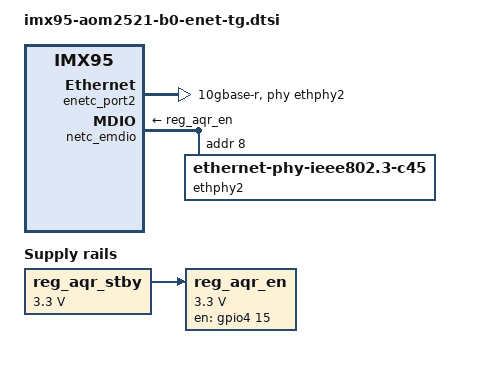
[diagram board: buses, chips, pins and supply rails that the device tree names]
/ {
	aliases {
		ethernet2 = &enetc_port2;
	};

	reg_aqr_stby: regulator-aqr-stby {
		compatible = "regulator-fixed";
		regulator-name = "aqr-stby";
		regulator-min-microvolt = <3300000>;
		regulator-max-microvolt = <3300000>;
		enable-active-high;
		regulator-always-on;
	};

	reg_aqr_en: regulator-aqr-en {
		compatible = "regulator-fixed";
		regulator-name = "aqr-en";
		regulator-min-microvolt = <3300000>;
		regulator-max-microvolt = <3300000>;
		vin-supply = <&reg_aqr_stby>;
		enable-active-high;
		gpio = <&gpio4 15 GPIO_ACTIVE_HIGH>;
		pinctrl-names = "default";
		pinctrl-0 = <&pinctrl_serdes_en>;
	};
};

&enetc_port2 {
	phy-handle = <&ethphy2>;
	phy-mode = "10gbase-r";
	managed = "in-band-status";
	status = "okay";
};

&netc_emdio {
	phy-supply = <&reg_aqr_en>;

	ethphy2: ethernet-phy@8 {
		compatible = "ethernet-phy-ieee802.3-c45";
		reg = <8>;
	};
};

&scmi_iomuxc {
    pinctrl_serdes_en: serdes_en_grp {
        fsl,pins = <
            IMX95_PAD_ENET2_MDIO__GPIO4_IO_BIT15 0x31e
        >;
    };
};
